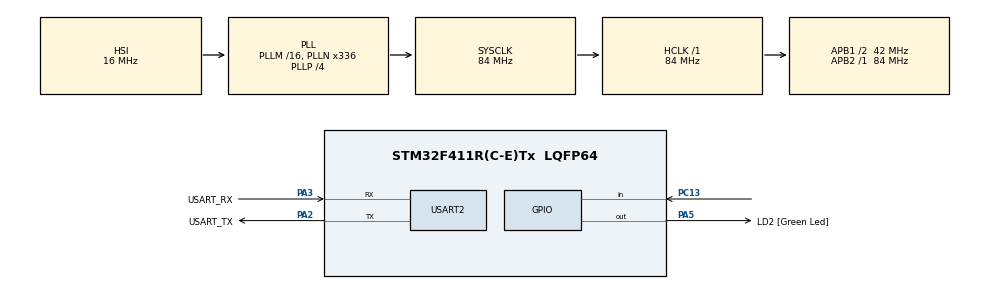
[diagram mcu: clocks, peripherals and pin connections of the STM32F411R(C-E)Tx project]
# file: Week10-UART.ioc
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Mcu.Family=STM32F4
PC15-OSC32_OUT.Mode=LSE-External-Oscillator
RCC.CortexFreq_Value=84000000
PA14.GPIO_Label=TCK
PH1\ -\ OSC_OUT.Mode=HSE-External-Clock-Source
RCC.APB1CLKDivider=RCC_HCLK_DIV2
PC14-OSC32_IN.Signal=RCC_OSC32_IN
NVIC.USART2_IRQn=true\:0\:0\:false\:false\:true\:true\:true
RCC.SYSCLKSource=RCC_SYSCLKSOURCE_PLLCLK
ProjectManager.StackSize=0x400
PA13.Signal=SYS_JTMS-SWDIO
PA3.Mode=Asynchronous
PH0\ -\ OSC_IN.Mode=HSE-External-Clock-Source
PH0\ -\ OSC_IN.Signal=RCC_OSC_IN
ProjectManager.TargetToolchain=STM32CubeIDE
RCC.HCLKFreq_Value=84000000
RCC.APB2TimFreq_Value=84000000
PC15-OSC32_OUT.Signal=RCC_OSC32_OUT
RCC.AHBFreq_Value=84000000
PA5.Signal=GPIO_Output
RCC.HSE_VALUE=8000000
PH1\ -\ OSC_OUT.Signal=RCC_OSC_OUT
board=NUCLEO-F411RE
PC13-ANTI_TAMP.Signal=GPIO_Input
RCC.VCOOutputFreq_Value=336000000
RCC.APB2Freq_Value=84000000
PC14-OSC32_IN.Mode=LSE-External-Oscillator
PA14.Mode=Serial_Wire
PA13.Mode=Serial_Wire
Mcu.Name=STM32F411R(C-E)Tx
PA2.Signal=USART2_TX
PA13.GPIO_Label=TMS
RCC.FLatency-AdvancedSettings=FLASH_LATENCY_2
RCC.48MHZClocksFreq_Value=84000000
PB3.Signal=SYS_JTDO-SWO
RCC.SYSCLKFreq_VALUE=84000000
Mcu.Package=LQFP64
PA5.GPIO_Label=LD2 [Green Led]
USART2.VirtualMode=VM_ASYNC
PA2.GPIO_Label=USART_TX
PA14.Signal=SYS_JTCK-SWCLK
ProjectManager.HeapSize=0x200
RCC.HSI_VALUE=16000000
RCC.PLLP=RCC_PLLP_DIV4
NVIC.PriorityGroup=NVIC_PRIORITYGROUP_0
RCC.PLLN=336
RCC.APB1TimFreq_Value=84000000
PA2.Mode=Asynchronous
RCC.APB1Freq_Value=42000000
PA3.GPIO_Label=USART_RX
PA3.Signal=USART2_RX
PB3.GPIO_Label=SWO

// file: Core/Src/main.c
/* USER CODE BEGIN Header */
/**
 ******************************************************************************
 * @file           : main.c
 * @brief          : Main program body
 ******************************************************************************
 * @attention
 *
 * <h2><center>&copy; Copyright (c) 2021 STMicroelectronics.
 * All rights reserved.</center></h2>
 *
 * This software component is licensed by ST under BSD 3-Clause license,
 * the "License"; You may not use this file except in compliance with the
 * License. You may obtain a copy of the License at:
 *                        opensource.org/licenses/BSD-3-Clause
 *
 ******************************************************************************
 */
/* USER CODE END Header */
#include "main.h"

/* USER CODE BEGIN Includes */
#include <stdio.h>
#include <string.h>
/* USER CODE END Includes */

UART_HandleTypeDef huart2;

/* USER CODE BEGIN PV */
char TxDataBuffer[32] =
{ 0 };
char RxDataBuffer[32] =
{ 0 };
char data[32]={0};
uint8_t menu1 =1;
uint8_t menu2 =0;
uint8_t ledstate = 1 ;
uint8_t F=10;
uint8_t n = 0;
uint16_t T=0;
uint64_t timestamp=0;
uint8_t switchstate[2]={0};

/* USER CODE END PV */

void SystemClock_Config(void);
static void MX_GPIO_Init(void);
static void MX_USART2_UART_Init(void);
/* USER CODE BEGIN PFP */
void UARTRecieveAndResponsePolling();
int16_t UARTRecieveIT();
/* USER CODE END PFP */

int main(void)
{

  /* MCU Configuration--------------------------------------------------------*/

  /* Reset of all peripherals, Initializes the Flash interface and the Systick. */
  HAL_Init();

  /* Configure the system clock */
  SystemClock_Config();

  /* Initialize all configured peripherals */
  MX_GPIO_Init();
  MX_USART2_UART_Init();
  /* USER CODE BEGIN 2 */

  char temp[]="*********MENU1*********\r\n\n 0:LED Contr0l\r\n 1:Button Status\r\n";
  char temp2[]="*********MENU2*********\r\n\n a:Speed Up 1 Hz\r\n s:Speed Down 1 Hz \r\n d:On/off \r\n x:Back\r\n";
  char temp3[]="*********MENU2*********\r\n\n show Button Status \r\n x:Back\r\n";
  char temp4[]="Input incorrect\r\n";
  char temp5[]="*********MENU5*********\r\n\n\n 0:LED Contr0l\r\n 1:Button Status\r\n";
  HAL_UART_Transmit(&huart2, (uint8_t*)temp, strlen(temp),100);

  /* USER CODE END 2 */

  /* Infinite loop */
  /* USER CODE BEGIN WHILE */
	while (1)
	{

		switchstate[0]=HAL_GPIO_ReadPin(GPIOC, GPIO_PIN_13);

				/*Method 1 Polling Mode*/

//		UARTRecieveAndResponsePolling();

		/*Method 2 Interrupt Mode*/
		HAL_UART_Receive_IT(&huart2,  (uint8_t*)RxDataBuffer, 32);

		/*Method 2 W/ 1 Char Received*/
		int16_t inputchar = UARTRecieveIT();
		if(inputchar!=-1)
		{

			sprintf(TxDataBuffer, "ReceivedChar:[%c]\r\n", inputchar);
			HAL_UART_Transmit(&huart2, (uint8_t*)TxDataBuffer, strlen(TxDataBuffer), 1000);

		}

		/*This section just simmulate Work Load*/
		if(F>0)
		{ T=500/F;
			if(HAL_GetTick()-timestamp>=T )
			{	timestamp=HAL_GetTick();
				if (ledstate==1)
				{
					HAL_GPIO_TogglePin(LD2_GPIO_Port, LD2_Pin);
				}
				else
				{
					HAL_GPIO_WritePin(LD2_GPIO_Port, LD2_Pin, 0);
				}
			}
		}
		switch(menu1)
		{
			case 0 :
				HAL_UART_Transmit(&huart2, (uint8_t*)temp, strlen(temp),10);
				menu1=1;
				break;
			case 1 :
				switch(inputchar)
				{
					case -1:
						break;
					case '0':
						menu1=2;
						break;
					case '1':
						menu1=4;
						break;
					default :
						HAL_UART_Transmit(&huart2, (uint8_t*)temp4, strlen(temp4),10);
						break;
				}
				break;
			case 2 :
				HAL_UART_Transmit(&huart2, (uint8_t*)temp2, strlen(temp2),100);
				menu1=3;
				break;
			case 3 :
				switch(inputchar)
				{
					case -1:
						break;
					case 'a':
						F=F+1;
						sprintf(data, "F=%d\r\n", F);
						HAL_UART_Transmit(&huart2, (uint8_t*)data, strlen(data), 100);
						menu1=2;
						break;
					case 's':

						if(F >=1 )
						{
							F=F-1;
						}
						sprintf(data, "F=%d\r\n", F);
						HAL_UART_Transmit(&huart2, (uint8_t*)data, strlen(data), 100);
						menu1=2;
						break;
					case 'd':
						ledstate=~ledstate;
						if (ledstate==1)
						{
							char data[]="LED ON\r\n";
							HAL_UART_Transmit(&huart2, (uint8_t*)data, strlen(data),10);
						}
						else
						{
							char data[]="LED OFF\r\n";
							HAL_UART_Transmit(&huart2, (uint8_t*)data, strlen(data),10);
						}
						break;
						menu1=2;
					case 'x':
						menu1=0;
						char data[]="back\r\n";
						HAL_UART_Transmit(&huart2, (uint8_t*)data, strlen(data),10);
						break;
					default :
						HAL_UART_Transmit(&huart2, (uint8_t*)temp4, strlen(temp4),10);
						menu1=2;
						break;
				}
				break;
			case 4 :
				HAL_UART_Transmit(&huart2, (uint8_t*)temp3, strlen(temp3),10);
				menu1=5;
				break;
			case 5 :
				switch(inputchar)
				{

					case -1:
						if (switchstate[0]==0 && switchstate[1]==1 )
							{
							char data[]="button press\r\n";
							HAL_UART_Transmit(&huart2, (uint8_t*)data, strlen(data),10);
							}
						else if (switchstate[0]==1 && switchstate[1]==0 )
							{
							char data[]="button unpress\r\n";
							HAL_UART_Transmit(&huart2, (uint8_t*)data, strlen(data),10);
							}
						break;
					case 'x':
						menu1=0;
						char data[]="back\r\n";
						HAL_UART_Transmit(&huart2, (uint8_t*)data, strlen(data),10);
						break;
					default :
						HAL_UART_Transmit(&huart2, (uint8_t*)temp4, strlen(temp4),10);
						menu1=4;
						break;
				}
				break;
			default :
				HAL_UART_Transmit(&huart2, (uint8_t*)temp4, strlen(temp4),10);
				menu1=0;
				break;
		}
		switchstate[1]=switchstate[0];
    /* USER CODE END WHILE */

	}
}

void SystemClock_Config(void)
{
  RCC_OscInitTypeDef RCC_OscInitStruct = {0};
  RCC_ClkInitTypeDef RCC_ClkInitStruct = {0};

  /** Configure the main internal regulator output voltage
  */
  __HAL_RCC_PWR_CLK_ENABLE();
  __HAL_PWR_VOLTAGESCALING_CONFIG(PWR_REGULATOR_VOLTAGE_SCALE1);
  /** Initializes the RCC Oscillators according to the specified parameters
  * in the RCC_OscInitTypeDef structure.
  */
  RCC_OscInitStruct.OscillatorType = RCC_OSCILLATORTYPE_HSI;
  RCC_OscInitStruct.HSIState = RCC_HSI_ON;
  RCC_OscInitStruct.HSICalibrationValue = RCC_HSICALIBRATION_DEFAULT;
  RCC_OscInitStruct.PLL.PLLState = RCC_PLL_ON;
  RCC_OscInitStruct.PLL.PLLSource = RCC_PLLSOURCE_HSI;
  RCC_OscInitStruct.PLL.PLLM = 16;
  RCC_OscInitStruct.PLL.PLLN = 336;
  RCC_OscInitStruct.PLL.PLLP = RCC_PLLP_DIV4;
  RCC_OscInitStruct.PLL.PLLQ = 4;
  if (HAL_RCC_OscConfig(&RCC_OscInitStruct) != HAL_OK)
  {
    Error_Handler();
  }
  /** Initializes the CPU, AHB and APB buses clocks
  */
  RCC_ClkInitStruct.ClockType = RCC_CLOCKTYPE_HCLK|RCC_CLOCKTYPE_SYSCLK
                              |RCC_CLOCKTYPE_PCLK1|RCC_CLOCKTYPE_PCLK2;
  RCC_ClkInitStruct.SYSCLKSource = RCC_SYSCLKSOURCE_PLLCLK;
  RCC_ClkInitStruct.AHBCLKDivider = RCC_SYSCLK_DIV1;
  RCC_ClkInitStruct.APB1CLKDivider = RCC_HCLK_DIV2;
  RCC_ClkInitStruct.APB2CLKDivider = RCC_HCLK_DIV1;

  if (HAL_RCC_ClockConfig(&RCC_ClkInitStruct, FLASH_LATENCY_2) != HAL_OK)
  {
    Error_Handler();
  }
}

static void MX_USART2_UART_Init(void)
{

  huart2.Instance = USART2;
  huart2.Init.BaudRate = 115200;
  huart2.Init.WordLength = UART_WORDLENGTH_8B;
  huart2.Init.StopBits = UART_STOPBITS_1;
  huart2.Init.Parity = UART_PARITY_NONE;
  huart2.Init.Mode = UART_MODE_TX_RX;
  huart2.Init.HwFlowCtl = UART_HWCONTROL_NONE;
  huart2.Init.OverSampling = UART_OVERSAMPLING_16;
  if (HAL_UART_Init(&huart2) != HAL_OK)
  {
    Error_Handler();
  }

}

static void MX_GPIO_Init(void)
{
  GPIO_InitTypeDef GPIO_InitStruct = {0};

  /* GPIO Ports Clock Enable */
  __HAL_RCC_GPIOC_CLK_ENABLE();
  __HAL_RCC_GPIOH_CLK_ENABLE();
  __HAL_RCC_GPIOA_CLK_ENABLE();
  __HAL_RCC_GPIOB_CLK_ENABLE();

  /*Configure GPIO pin Output Level */
  HAL_GPIO_WritePin(LD2_GPIO_Port, LD2_Pin, GPIO_PIN_RESET);

  /*Configure GPIO pin : PC13 */
  GPIO_InitStruct.Pin = GPIO_PIN_13;
  GPIO_InitStruct.Mode = GPIO_MODE_INPUT;
  GPIO_InitStruct.Pull = GPIO_NOPULL;
  HAL_GPIO_Init(GPIOC, &GPIO_InitStruct);

  /*Configure GPIO pin : LD2_Pin */
  GPIO_InitStruct.Pin = LD2_Pin;
  GPIO_InitStruct.Mode = GPIO_MODE_OUTPUT_PP;
  GPIO_InitStruct.Pull = GPIO_NOPULL;
  GPIO_InitStruct.Speed = GPIO_SPEED_FREQ_LOW;
  HAL_GPIO_Init(LD2_GPIO_Port, &GPIO_InitStruct);

}

/* USER CODE BEGIN 4 */
void UARTRecieveAndResponsePolling()
{
	char Recieve[32]={0};

	HAL_UART_Receive(&huart2, (uint8_t*)Recieve, 32, 1000);

	sprintf(TxDataBuffer, "Received:[%s]\r\n", Recieve);
	HAL_UART_Transmit(&huart2, (uint8_t*)TxDataBuffer, strlen(TxDataBuffer), 1000);

}
//
//void HAL_GPIO_EXTI_Callback(uint16_t GPIO_Pin)
//{
//	if (GPIO_Pin == GPIO_PIN_13)
//		{	if (n ==0 )
//			{
//				n=1;
//				char data[]="button press\r\n";
//				HAL_UART_Transmit(&huart2, (uint8_t*)data, strlen(data),10);
//			}
//			else if (n==1)
//			{
//				char data[]="button press\r\n";
//				HAL_UART_Transmit(&huart2, (uint8_t*)data, strlen(data),10);
//			n=0;
//			}
//		}

//}
int16_t UARTRecieveIT()
{
	static uint32_t dataPos =0;
	int16_t data=-1;
	if(huart2.RxXferSize - huart2.RxXferCount!=dataPos)
	{
		data=RxDataBuffer[dataPos];
		dataPos= (dataPos+1)%huart2.RxXferSize;
	}
	return data;
}

void HAL_UART_RxCpltCallback(UART_HandleTypeDef *huart)
{
	sprintf(TxDataBuffer, "Received:[%s]\r\n", RxDataBuffer);
	HAL_UART_Transmit(&huart2, (uint8_t*)TxDataBuffer, strlen(TxDataBuffer), 1000);
}
/* USER CODE END 4 */

void Error_Handler(void)
{
	__disable_irq();
	while (1)
	{
	}
}

/************************ (C) COPYRIGHT STMicroelectronics *****END OF FILE****/
